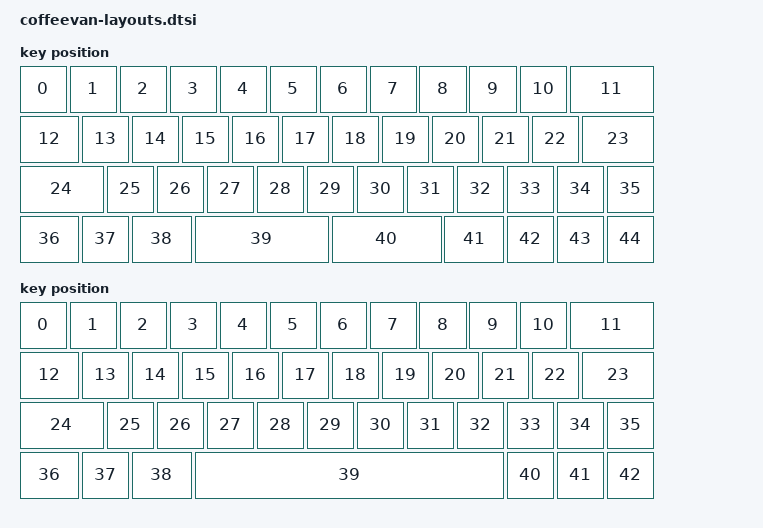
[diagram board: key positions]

#include <physical_layouts.dtsi>

/ {
    layout_coffeevan_split_spacebar: layout_coffeevan_split_spacebar {
        compatible = "zmk,physical-layout";
        display-name = "Split Spacebar";

        keys
            = <&key_physical_attrs 100 100 000  000 0 0 0>
            , <&key_physical_attrs 100 100 100  000 0 0 0>
            , <&key_physical_attrs 100 100 200  000 0 0 0>
            , <&key_physical_attrs 100 100 300  000 0 0 0>
            , <&key_physical_attrs 100 100 400  000 0 0 0>
            , <&key_physical_attrs 100 100 500  000 0 0 0>
            , <&key_physical_attrs 100 100 600  000 0 0 0>
            , <&key_physical_attrs 100 100 700  000 0 0 0>
            , <&key_physical_attrs 100 100 800  000 0 0 0>
            , <&key_physical_attrs 100 100 900  000 0 0 0>
            , <&key_physical_attrs 100 100 1000 000 0 0 0>
            , <&key_physical_attrs 175 100 1100 000 0 0 0>

            , <&key_physical_attrs 125 100 000  100 0 0 0>
            , <&key_physical_attrs 100 100 125  100 0 0 0>
            , <&key_physical_attrs 100 100 225  100 0 0 0>
            , <&key_physical_attrs 100 100 325  100 0 0 0>
            , <&key_physical_attrs 100 100 425  100 0 0 0>
            , <&key_physical_attrs 100 100 525  100 0 0 0>
            , <&key_physical_attrs 100 100 625  100 0 0 0>
            , <&key_physical_attrs 100 100 725  100 0 0 0>
            , <&key_physical_attrs 100 100 825  100 0 0 0>
            , <&key_physical_attrs 100 100 925  100 0 0 0>
            , <&key_physical_attrs 100 100 1025 100 0 0 0>
            , <&key_physical_attrs 150 100 1125 100 0 0 0>

            , <&key_physical_attrs 175 100 000  200 0 0 0>
            , <&key_physical_attrs 100 100 175  200 0 0 0>
            , <&key_physical_attrs 100 100 275  200 0 0 0>
            , <&key_physical_attrs 100 100 375  200 0 0 0>
            , <&key_physical_attrs 100 100 475  200 0 0 0>
            , <&key_physical_attrs 100 100 575  200 0 0 0>
            , <&key_physical_attrs 100 100 675  200 0 0 0>
            , <&key_physical_attrs 100 100 775  200 0 0 0>
            , <&key_physical_attrs 100 100 875  200 0 0 0>
            , <&key_physical_attrs 100 100 975  200 0 0 0>
            , <&key_physical_attrs 100 100 1075 200 0 0 0>
            , <&key_physical_attrs 100 100 1175 200 0 0 0>

            , <&key_physical_attrs 125 100 000  300 0 0 0>
            , <&key_physical_attrs 100 100 125  300 0 0 0>
            , <&key_physical_attrs 125 100 225  300 0 0 0>
            , <&key_physical_attrs 275 100 350  300 0 0 0>
            , <&key_physical_attrs 225 100 625  300 0 0 0>
            , <&key_physical_attrs 125 100 850  300 0 0 0>
            , <&key_physical_attrs 100 100 975  300 0 0 0>
            , <&key_physical_attrs 100 100 1075 300 0 0 0>
            , <&key_physical_attrs 100 100 1175 300 0 0 0>
            ;
    };

    layout_coffeevan_big_bar: layout_coffeevan_big_bar {
        compatible = "zmk,physical-layout";
        display-name = "Big Bar";

        keys
            = <&key_physical_attrs 100 100 000  000 0 0 0>
            , <&key_physical_attrs 100 100 100  000 0 0 0>
            , <&key_physical_attrs 100 100 200  000 0 0 0>
            , <&key_physical_attrs 100 100 300  000 0 0 0>
            , <&key_physical_attrs 100 100 400  000 0 0 0>
            , <&key_physical_attrs 100 100 500  000 0 0 0>
            , <&key_physical_attrs 100 100 600  000 0 0 0>
            , <&key_physical_attrs 100 100 700  000 0 0 0>
            , <&key_physical_attrs 100 100 800  000 0 0 0>
            , <&key_physical_attrs 100 100 900  000 0 0 0>
            , <&key_physical_attrs 100 100 1000 000 0 0 0>
            , <&key_physical_attrs 175 100 1100 000 0 0 0>

            , <&key_physical_attrs 125 100 000  100 0 0 0>
            , <&key_physical_attrs 100 100 125  100 0 0 0>
            , <&key_physical_attrs 100 100 225  100 0 0 0>
            , <&key_physical_attrs 100 100 325  100 0 0 0>
            , <&key_physical_attrs 100 100 425  100 0 0 0>
            , <&key_physical_attrs 100 100 525  100 0 0 0>
            , <&key_physical_attrs 100 100 625  100 0 0 0>
            , <&key_physical_attrs 100 100 725  100 0 0 0>
            , <&key_physical_attrs 100 100 825  100 0 0 0>
            , <&key_physical_attrs 100 100 925  100 0 0 0>
            , <&key_physical_attrs 100 100 1025 100 0 0 0>
            , <&key_physical_attrs 150 100 1125 100 0 0 0>

            , <&key_physical_attrs 175 100 000  200 0 0 0>
            , <&key_physical_attrs 100 100 175  200 0 0 0>
            , <&key_physical_attrs 100 100 275  200 0 0 0>
            , <&key_physical_attrs 100 100 375  200 0 0 0>
            , <&key_physical_attrs 100 100 475  200 0 0 0>
            , <&key_physical_attrs 100 100 575  200 0 0 0>
            , <&key_physical_attrs 100 100 675  200 0 0 0>
            , <&key_physical_attrs 100 100 775  200 0 0 0>
            , <&key_physical_attrs 100 100 875  200 0 0 0>
            , <&key_physical_attrs 100 100 975  200 0 0 0>
            , <&key_physical_attrs 100 100 1075 200 0 0 0>
            , <&key_physical_attrs 100 100 1175 200 0 0 0>

            , <&key_physical_attrs 125 100 000  300 0 0 0>
            , <&key_physical_attrs 100 100 125  300 0 0 0>
            , <&key_physical_attrs 125 100 225  300 0 0 0>
            , <&key_physical_attrs 625 100 350  300 0 0 0>
            , <&key_physical_attrs 100 100 975  300 0 0 0>
            , <&key_physical_attrs 100 100 1075 300 0 0 0>
            , <&key_physical_attrs 100 100 1175 300 0 0 0>
            ;
    };

    pos_map {
        compatible = "zmk,physical-layout-position-map";
        split {
            physical-layout = <&layout_coffeevan_split_spacebar>;
            positions
                = <39 40 41>;
        };

        big {
            physical-layout = <&layout_coffeevan_big_bar>;
            positions
                = <39 43 44>;
        };
    };
};
